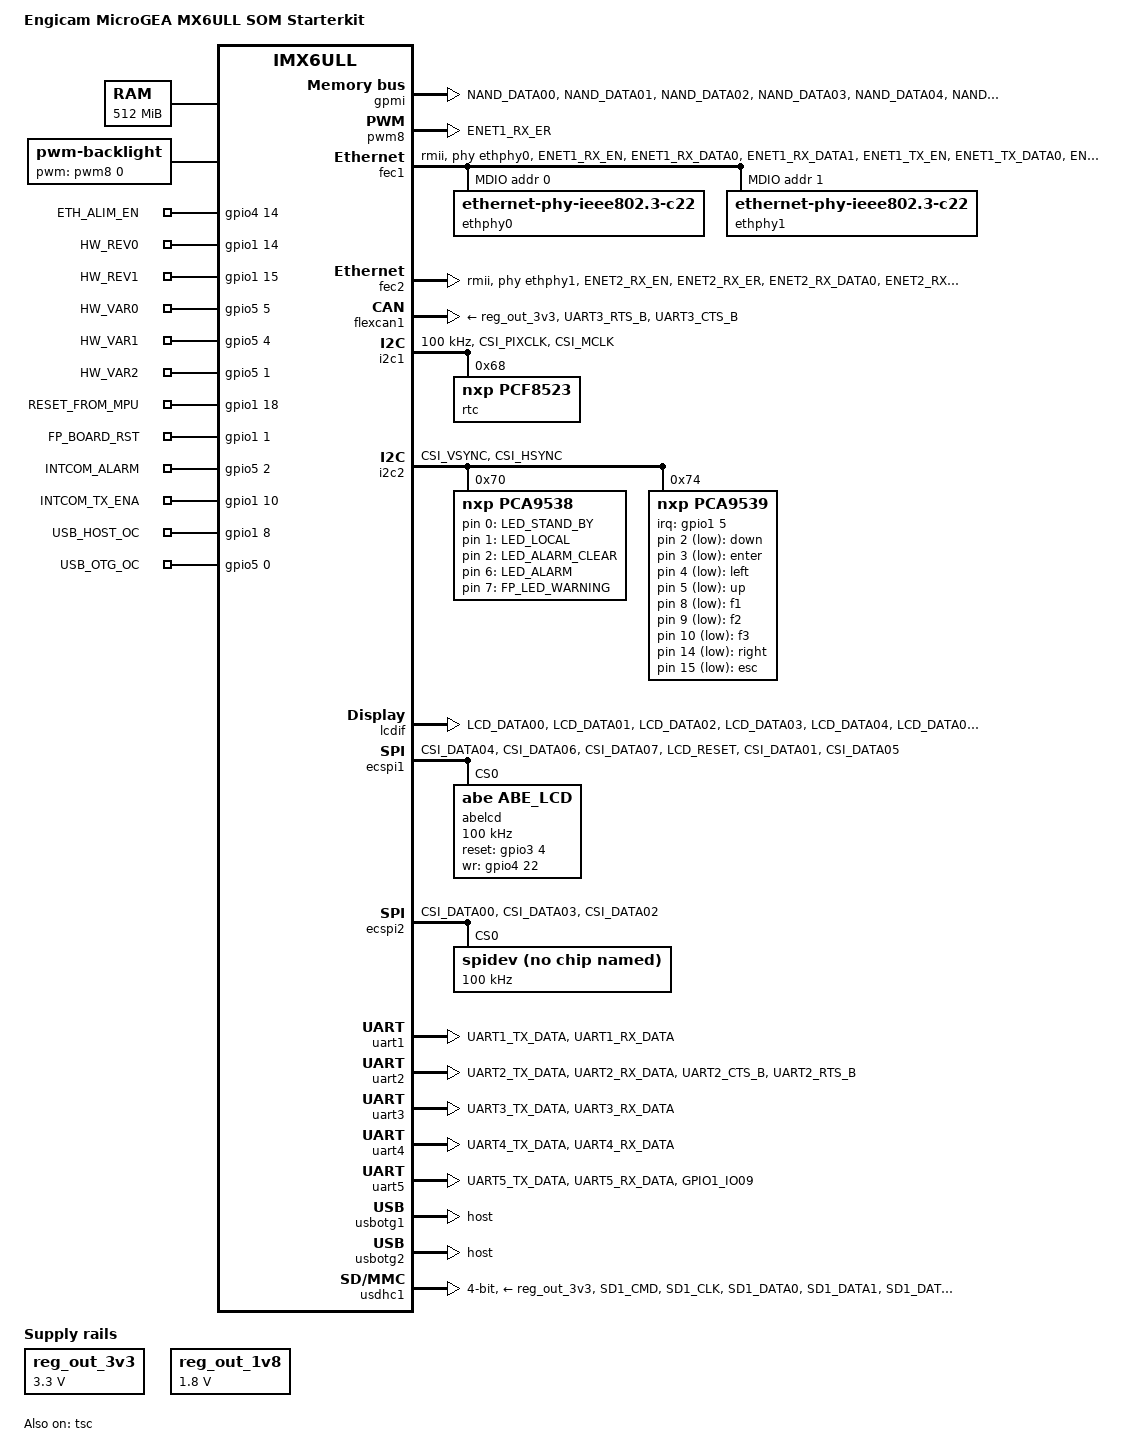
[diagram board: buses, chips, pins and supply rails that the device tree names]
/*
 * Copyright (C) 2016 Freescale Semiconductor, Inc.
 * Copyright 2017 NXP
 *
 * This program is free software; you can redistribute it and/or modify
 * it under the terms of the GNU General Public License version 2 as
 * published by the Free Software Foundation.
 */

/dts-v1/;

#include <dt-bindings/input/input.h>
#include "imx6ull.dtsi"

/ {
	model = "Engicam MicroGEA MX6ULL SOM Starterkit";
	compatible = "fsl,imx6ull";

	chosen {
		stdout-path = &uart1;
	};

	memory {
		reg = <0x80000000 0x20000000>;
	};

	reserved-memory {
		#address-cells = <1>;
		#size-cells = <1>;
		ranges;

		linux,cma {
			compatible = "shared-dma-pool";
			reusable;
			size = <0x4000000>;
			linux,cma-default;
		};
	};

    backlight {
        compatible = "pwm-backlight";
        pwms = <&pwm8 0 100000>;
        brightness-levels = < 0  1  2  3  4  5  6  7  8  9
                    10 11 12 13 14 15 16 17 18 19
                    20 21 22 23 24 25 26 27 28 29
                    30 31 32 33 34 35 36 37 38 39
                    40 41 42 43 44 45 46 47 48 49
                    50 51 52 53 54 55 56 57 58 59
                    60 61 62 63 64 65 66 67 68 69
                    70 71 72 73 74 75 76 77 78 79
                    80 81 82 83 84 85 86 87 88 89
                    90 91 92 93 94 95 96 97 98 99
                    100>;
        default-brightness-level = <100>;
        status = "okay";
    };


	regulators {
		compatible = "simple-bus";
		#address-cells = <1>;
		#size-cells = <0>;

		reg_out_3v3: regulator@0 {
			compatible = "regulator-fixed";
			reg = <0>;
			regulator-name = "out-3v3";
			regulator-min-microvolt = <3300000>;
			regulator-max-microvolt = <3300000>;
		};

		reg_out_1v8: regulator@1 {
			compatible = "regulator-fixed";
			reg = <1>;
			regulator-name = "out-1v8";
			regulator-min-microvolt = <1800000>;
			regulator-max-microvolt = <1800000>;
		};
	};


	gpio_export {
		compatible = "gpio-export";
		#size-cells = <0>;

		ETH_ALIM_EN {
			gpio-export,name = "ETH_ALIM_EN";
			gpio-export,output = <1>;
			gpios = <&gpio4 14 0>;
		};

		HW_REV0 {
			gpio-export,name = "HW_REV0";
			gpios = <&gpio1 14 0>;
		};

		HW_REV1 {
			gpio-export,name = "HW_REV1";
			gpios = <&gpio1 15 0>;
		};

		HW_VAR0 {
			gpio-export,name = "HW_VAR0";
			gpios = <&gpio5 5 0>;
		};

		HW_VAR1 {
			gpio-export,name = "HW_VAR1";
			gpios = <&gpio5 4 0>;
		};

		HW_VAR2 {
			gpio-export,name = "HW_VAR2";
			gpios = <&gpio5 1 0>;
		};

		RESET_FROM_MPU {
			gpio-export,name = "RESET_FROM_MPU";
			gpio-export,output = <1>;
			gpios = <&gpio1 18 0>;
		};

		FP_BOARD_RST {
			gpio-export,name = "FP_BOARD_RST";
			gpio-export,output = <1>;
			gpios = <&gpio1 1 0>;
		};

		LED_STAND_BY {
			gpio-export,name = "LED_STAND_BY";
			gpio-export,output = <1>;
			gpios = <&pca9538 0 0>;
		};

		LED_LOCAL {
			gpio-export,name = "LED_LOCAL";
			gpio-export,output = <1>;
			gpios = <&pca9538 1 0>;
		};

		LED_ALARM_CLEAR {
			gpio-export,name = "LED_ALARM_CLEAR";
			gpio-export,output = <1>;
			gpios = <&pca9538 2 0>;
		};

		LED_ALARM {
			gpio-export,name = "LED_ALARM";
			gpio-export,output = <1>;
			gpios = <&pca9538 6 0>;
		};

		FP_LED_WARNING {
			gpio-export,name = "FP_LED_WARNING";
			gpio-export,output = <1>;
			gpios = <&pca9538 7 0>;
		};

		INTCOM_ALARM {
			gpio-export,name = "INTCOM_ALARM";
			gpios = <&gpio5 2 0>;
		};

		INTCOM_TX_ENA {
			gpio-export,name = "INTCOM_TX_ENA";
			gpio-export,output = <1>;
			gpios = <&gpio1 10 0>;
		};

		USB_HOST_OC {
			gpio-export,name = "USB_HOST_OC";
			gpios = <&gpio1 8 0>;
		};

		USB_OTG_OC {
			gpio-export,name = "USB_OTG_OC";
			gpios = <&gpio5 0 0>;
		};
	};

	frontal-keys {
		compatible = "gpio-keys";
		autorepeat;
		#address-cells = <1>;
		#size-cells = <0>;

		down@2 {
			label = "down";
			linux,code = <KEY_DOWN>;
			gpios = <&pca9539 2 1>;
		};

		enter@3 {
			label = "enter";
			linux,code = <KEY_KPENTER>;
			gpios = <&pca9539 3 1>;
		};

		left@4 {
			label = "left";
			linux,code = <KEY_LEFT>;
			gpios = <&pca9539 4 1>;
		};

		up@5 {
			label = "up";
			linux,code = <KEY_UP>;
			gpios = <&pca9539 5 1>;
		};

		f1@8 {
			label = "f1";
			linux,code = <KEY_F1>;
			gpios = <&pca9539 8 1>;
		};

		f2@9 {
			label = "f2";
			linux,code = <KEY_F2>;
			gpios = <&pca9539 9 1>;
		};

		f3@10 {
			label = "f3";
			linux,code = <KEY_F3>;
			gpios = <&pca9539 10 1>;
		};

		right@14 {
			label = "right";
			linux,code = <KEY_RIGHT>;
			gpios = <&pca9539 14 1>;
		};

		esc@15 {
			label = "esc";
			linux,code = <KEY_ESC>;
			gpios = <&pca9539 15 1>;
		};
	};
};

&gpmi {
	pinctrl-names = "default";
	pinctrl-0 = <&pinctrl_gpmi_nand_1>;
	status = "okay";
	nand-on-flash-bbt;
	nand-bus-width = <8>;
	nand-ecc-mode = "hw";
	nand-ecc-strength = <8>;
	nand-ecc-step-size = <512>;

	partition@0 {
		label = "bootloader";
		reg = <0x000000 0x00400000>; /* 256 KiB */
	};

	partition@1 {
		label = "os1";
		reg = <0x00400000 0x0f000000>; /* 240 Mb */
	};

	partition@2 {
		label = "os2";
		reg = <0x0f400000 0x0f000000>; /* 240 Mb */
	};
	
	partition@3 {
		label = "data";
		reg = <0x1e400000 0x01c00000>; /* - */
	};	
};

&pwm8 {
	pinctrl-names = "default";
	pinctrl-0 = <&pinctrl_pwm8>;
	status = "okay";
};


&cpu0 {
	/*
	 * on i.MX6ULL, no separated VDD_ARM_IN and VDD_SOC_IN,
	 * to align with other platform and use the same cpufreq
	 * driver, still use the separated OPP define for arm
	 * and soc.
	 */
	operating-points = <
		/* kHz	uV */
		792000  1225000
		396000	1175000
		198000	1175000
	>;
	fsl,soc-operating-points = <
		/* KHz	uV */
		792000  1225000
		396000	1175000
		198000	1175000
	>;
	fsl,arm-soc-shared = <1>;
};

&fec1 {
	pinctrl-names = "default";
	pinctrl-0 = <&pinctrl_enet1>;
	phy-mode = "rmii";
	phy-handle = <&ethphy0>;
	status = "okay";

	mdio {
		#address-cells = <1>;
		#size-cells = <0>;

		ethphy0: ethernet-phy@0 {
			compatible = "ethernet-phy-ieee802.3-c22";
			reg = <0>;
		};

        ethphy1: ethernet-phy@1 {
            compatible = "ethernet-phy-ieee802.3-c22";
          	reg = <1>;
        };
	};
};

&fec2 {
    pinctrl-names = "default";
    pinctrl-0 = <&pinctrl_enet2>;
    phy-mode = "rmii";
    phy-handle = <&ethphy1>;
    status = "okay";
};


&flexcan1 {
	pinctrl-names = "default";
	pinctrl-0 = <&pinctrl_flexcan1>;
	xceiver-supply = <&reg_out_3v3>;
	status = "okay";
};


&gpc {
	fsl,cpu_pupscr_sw2iso = <0xf>;
	fsl,cpu_pupscr_sw = <0x0>;
	fsl,cpu_pdnscr_iso2sw = <0x1>;
	fsl,cpu_pdnscr_iso = <0x1>;
	fsl,ldo-bypass = <1>;
};



&i2c1 {
	clock-frequency = <100000>;
	pinctrl-names = "default";
	pinctrl-0 = <&pinctrl_i2c1>;
	status = "okay";

	rtc: pcf8523@68 {
		compatible = "nxp,pcf8523";
		reg = <0x68>;
	};
};


&i2c2 {
	clock_frequency = <100000>;
	pinctrl-names = "default";
	pinctrl-0 = <&pinctrl_i2c2>;
	status = "okay";

	pca9538: pca9538@70 {
		compatible = "nxp,pca9538";
		reg = <0x70>;
		gpio-controller;
		#gpio-cells = <2>;
	};

	pca9539: pca9539@74 {
		#gpio-cells = <2>;
		compatible = "nxp,pca9539";
		reg = <0x74>;
		pinctrl-names = "default";
		pinctrl-0 = <&pinctrl_pca9539>;
		interrupt-parent = <&gpio1>;
		interrupts = <5 IRQ_TYPE_LEVEL_LOW>;
		gpio-controller;
		interrupt-controller;
		#interrupt-cells = <2>;
	};
};

&iomuxc {
	pinctrl-names = "default";
	pinctrl-0 = <&pinctrl_hog_1>;
	imx6ul-evk {

		pinctrl_hog_1: hoggrp-1 {
			fsl,pins = <
				MX6UL_PAD_UART1_RTS_B__GPIO1_IO19  	0x17059 /*CD sdhc1 */
				MX6UL_PAD_SNVS_TAMPER5__GPIO5_IO05 	0x1b0b0 /* HW_VAR0 38 */
				MX6UL_PAD_SNVS_TAMPER4__GPIO5_IO04	0x1b0b0 /* HW_VAR1 40 */
				MX6UL_PAD_SNVS_TAMPER1__GPIO5_IO01	0x1b0b0 /* HW_VAR2 42 */
				MX6UL_PAD_JTAG_TCK__GPIO1_IO14		0x1b0b0 /* HW_REV0 53 */
				MX6UL_PAD_JTAG_TRST_B__GPIO1_IO15	0x1b0b0 /* HW_REV1 55 */
				MX6UL_PAD_UART1_CTS_B__GPIO1_IO18	0x1b0b0 /* RESET_FROM_MPU 75 */
				MX6UL_PAD_JTAG_TMS__GPIO1_IO11		0x1b0b0 /* FP_BOARD_RST */

				MX6UL_PAD_SNVS_TAMPER2__GPIO5_IO02	0x1b0b0 /* INTCOM_ALARM  */
				MX6UL_PAD_JTAG_MOD__GPIO1_IO10		0x1b0b0 /* INTCOM_TX_ENA */

				MX6UL_PAD_GPIO1_IO08__GPIO1_IO08	0x1b0b0 /* USB_HOST_OC */
				MX6UL_PAD_SNVS_TAMPER0__GPIO5_IO00	0x1b0b0 /* USB_OTG_OC */
			>;
		};

		pinctrl_pca9539: pinpca9539{
				fsl,pins = <
					MX6UL_PAD_GPIO1_IO05__GPIO1_IO05		0x1b0b0
				>;
		};

		pinctrl_enet1: enet1grp {
			fsl,pins = <
				MX6UL_PAD_ENET1_RX_EN__ENET1_RX_EN		0x1b0b0
				MX6UL_PAD_ENET1_RX_DATA0__ENET1_RDATA00	0x1b0b0
				MX6UL_PAD_ENET1_RX_DATA1__ENET1_RDATA01	0x1b0b0
				MX6UL_PAD_ENET1_TX_EN__ENET1_TX_EN		0x1b0b0
				MX6UL_PAD_ENET1_TX_DATA0__ENET1_TDATA00	0x1b0b0
				MX6UL_PAD_ENET1_TX_DATA1__ENET1_TDATA01	0x1b0b0
				MX6UL_PAD_ENET1_TX_CLK__ENET1_REF_CLK1	0x4001b031
				MX6UL_PAD_GPIO1_IO07__ENET1_MDC			0x1b0b0
				MX6UL_PAD_GPIO1_IO06__ENET1_MDIO		0x1b0b0
			>;
		};

		pinctrl_enet2: enet2grp {
			fsl,pins = <
				MX6UL_PAD_ENET2_RX_EN__ENET2_RX_EN		0x1b0b0
				MX6UL_PAD_ENET2_RX_ER__ENET2_RX_ER		0x1b0b0
				MX6UL_PAD_ENET2_RX_DATA0__ENET2_RDATA00	0x1b0b0
				MX6UL_PAD_ENET2_RX_DATA1__ENET2_RDATA01	0x1b0b0
				MX6UL_PAD_ENET2_TX_EN__ENET2_TX_EN		0x1b0b0
				MX6UL_PAD_ENET2_TX_DATA0__ENET2_TDATA00	0x1b0b0
				MX6UL_PAD_ENET2_TX_DATA1__ENET2_TDATA01	0x1b0b0
				MX6UL_PAD_ENET2_TX_CLK__ENET2_REF_CLK2	0x4001b031
			>;
		};

		pinctrl_pwm8: pwm8grp {
			fsl,pins = <
				MX6UL_PAD_ENET1_RX_ER__PWM8_OUT   0x110b0
			>;
		};

		pinctrl_flexcan1: flexcan1grp{
			fsl,pins = <
				MX6UL_PAD_UART3_RTS_B__FLEXCAN1_RX	0x1b020
				MX6UL_PAD_UART3_CTS_B__FLEXCAN1_TX	0x1b020
			>;
		};

		pinctrl_gpmi_nand_1: gpmi-nand-1 {
			fsl,pins = <
				MX6UL_PAD_NAND_DATA00__RAWNAND_DATA00   0x100a9
				MX6UL_PAD_NAND_DATA01__RAWNAND_DATA01   0x100a9
				MX6UL_PAD_NAND_DATA02__RAWNAND_DATA02   0x100a9
				MX6UL_PAD_NAND_DATA03__RAWNAND_DATA03   0x100a9
				MX6UL_PAD_NAND_DATA04__RAWNAND_DATA04   0x100a9
				MX6UL_PAD_NAND_DATA05__RAWNAND_DATA05   0x100a9
				MX6UL_PAD_NAND_DATA06__RAWNAND_DATA06   0x100a9
				MX6UL_PAD_NAND_DATA07__RAWNAND_DATA07   0x100a9
				MX6UL_PAD_NAND_CLE__RAWNAND_CLE         0x100a9
				MX6UL_PAD_NAND_ALE__RAWNAND_ALE         0x100a9
				MX6UL_PAD_NAND_RE_B__RAWNAND_RE_B       0x100a9
				MX6UL_PAD_NAND_WE_B__RAWNAND_WE_B       0x100a9
				MX6UL_PAD_NAND_CE0_B__RAWNAND_CE0_B     0x100a9
				MX6UL_PAD_NAND_READY_B__RAWNAND_READY_B 0x100a9

			>;
		};

		pinctrl_uart1: uart1grp {
			fsl,pins = <
				MX6UL_PAD_UART1_TX_DATA__UART1_DCE_TX 0x1b0b1
				MX6UL_PAD_UART1_RX_DATA__UART1_DCE_RX 0x1b0b1
			>;
		};

		pinctrl_uart2: uart2grp {
			fsl,pins = <
				MX6UL_PAD_UART2_TX_DATA__UART2_DCE_TX	0x1b0b1
				MX6UL_PAD_UART2_RX_DATA__UART2_DCE_RX	0x1b0b1
				MX6UL_PAD_UART2_CTS_B__UART2_DCE_CTS	0x1b0b1
				MX6UL_PAD_UART2_RTS_B__UART2_DCE_RTS	0x1b0b1
			>;
		};
		
		pinctrl_uart3: uart3grp {
			fsl,pins = <
				MX6UL_PAD_UART3_TX_DATA__UART3_DCE_TX 0x1b0b1
				MX6UL_PAD_UART3_RX_DATA__UART3_DCE_RX 0x1b0b1
			>;
		};

		pinctrl_uart4: uart4grp {
			fsl,pins = <
				MX6UL_PAD_UART4_TX_DATA__UART4_DCE_TX 0x1b0b1
				MX6UL_PAD_UART4_RX_DATA__UART4_DCE_RX 0x1b0b1
			>;
		};

		pinctrl_uart5: uart5grp {
			fsl,pins = <
				MX6UL_PAD_UART5_TX_DATA__UART5_DCE_TX 	0x1b0b1
				MX6ULL_PAD_UART5_RX_DATA__UART5_DCE_RX	0x1b0b1
				MX6UL_PAD_GPIO1_IO09__UART5_DCE_CTS		0x1b0b1
			>;
		};

		pinctrl_usdhc1: usdhc1grp {
			fsl,pins = <
				MX6UL_PAD_SD1_CMD__USDHC1_CMD     0x17059
				MX6UL_PAD_SD1_CLK__USDHC1_CLK     0x10059
				MX6UL_PAD_SD1_DATA0__USDHC1_DATA0 0x17059
				MX6UL_PAD_SD1_DATA1__USDHC1_DATA1 0x17059
				MX6UL_PAD_SD1_DATA2__USDHC1_DATA2 0x17059
				MX6UL_PAD_SD1_DATA3__USDHC1_DATA3 0x17059
			>;
		};

		pinctrl_usdhc1_100mhz: usdhc1grp100mhz {
			fsl,pins = <
				MX6UL_PAD_SD1_CMD__USDHC1_CMD     0x170b9
				MX6UL_PAD_SD1_CLK__USDHC1_CLK     0x100b9
				MX6UL_PAD_SD1_DATA0__USDHC1_DATA0 0x170b9
				MX6UL_PAD_SD1_DATA1__USDHC1_DATA1 0x170b9
				MX6UL_PAD_SD1_DATA2__USDHC1_DATA2 0x170b9
				MX6UL_PAD_SD1_DATA3__USDHC1_DATA3 0x170b9
			>;
		};

		pinctrl_usdhc1_200mhz: usdhc1grp200mhz {
			fsl,pins = <
				MX6UL_PAD_SD1_CMD__USDHC1_CMD     0x170f9
				MX6UL_PAD_SD1_CLK__USDHC1_CLK     0x100f9
				MX6UL_PAD_SD1_DATA0__USDHC1_DATA0 0x170f9
				MX6UL_PAD_SD1_DATA1__USDHC1_DATA1 0x170f9
				MX6UL_PAD_SD1_DATA2__USDHC1_DATA2 0x170f9
				MX6UL_PAD_SD1_DATA3__USDHC1_DATA3 0x170f9
			>;
		};


		pinctrl_i2c1: i2c1grp {
			fsl,pins = <
				MX6UL_PAD_CSI_PIXCLK__I2C1_SCL 0x4001b8b0
				MX6UL_PAD_CSI_MCLK__I2C1_SDA 0x4001b8b0
			>;
		};

		pinctrl_i2c2: i2c2grp {
			fsl,pins = <
				MX6UL_PAD_CSI_VSYNC__I2C2_SDA 0x4001b8b0
				MX6UL_PAD_CSI_HSYNC__I2C2_SCL 0x4001b8b0
			>;
		};

		pinctrl_ecspi1: ecspigrp {
			fsl,pins = <
				MX6UL_PAD_CSI_DATA04__ECSPI1_SCLK      	0x70a1
				//MX6UL_PAD_CSI_DATA05__ECSPI1_SS0 		0x70a1
				MX6UL_PAD_CSI_DATA06__ECSPI1_MOSI   	0x70a1
				MX6UL_PAD_CSI_DATA07__ECSPI1_MISO   	0x70a1
				MX6UL_PAD_LCD_RESET__GPIO3_IO04			0x1b0b0
				MX6UL_PAD_CSI_DATA01__GPIO4_IO22		0x1b0b0
				MX6UL_PAD_CSI_DATA05__GPIO4_IO26		0x1b0b0
			>;
		};

        pinctrl_tsc: tscgrp {
                fsl,pins = <
                    MX6UL_PAD_GPIO1_IO01__GPIO1_IO01        0xb0
                    MX6UL_PAD_GPIO1_IO02__GPIO1_IO02        0xb0
                    MX6UL_PAD_GPIO1_IO03__GPIO1_IO03        0xb0
                    MX6UL_PAD_GPIO1_IO04__GPIO1_IO04        0xb0
                >;
        };

		pinctrl_ecspi2: ecspigrp2 {
			fsl,pins = <
				MX6UL_PAD_CSI_DATA00__ECSPI2_SCLK      	0x70a1
				MX6UL_PAD_CSI_DATA03__ECSPI2_MISO   	0x70a1
				MX6UL_PAD_CSI_DATA02__ECSPI2_MOSI   	0x70a1
			>;
		};

		pinctrl_lcdif_dat: lcdifdatgrp {
			fsl,pins = <
				MX6UL_PAD_LCD_DATA00__LCDIF_DATA00  0x79
				MX6UL_PAD_LCD_DATA01__LCDIF_DATA01  0x79
				MX6UL_PAD_LCD_DATA02__LCDIF_DATA02  0x79
				MX6UL_PAD_LCD_DATA03__LCDIF_DATA03  0x79
				MX6UL_PAD_LCD_DATA04__LCDIF_DATA04  0x79
				MX6UL_PAD_LCD_DATA05__LCDIF_DATA05  0x79
				MX6UL_PAD_LCD_DATA06__LCDIF_DATA06  0x79
				MX6UL_PAD_LCD_DATA07__LCDIF_DATA07  0x79
				MX6UL_PAD_LCD_DATA08__LCDIF_DATA08  0x79
				MX6UL_PAD_LCD_DATA09__LCDIF_DATA09  0x79
				MX6UL_PAD_LCD_DATA10__LCDIF_DATA10  0x79
				MX6UL_PAD_LCD_DATA11__LCDIF_DATA11  0x79
				MX6UL_PAD_LCD_DATA12__LCDIF_DATA12  0x79
				MX6UL_PAD_LCD_DATA13__LCDIF_DATA13  0x79
				MX6UL_PAD_LCD_DATA14__LCDIF_DATA14  0x79
				MX6UL_PAD_LCD_DATA15__LCDIF_DATA15  0x79
				MX6UL_PAD_LCD_DATA16__LCDIF_DATA16  0x79
				MX6UL_PAD_LCD_DATA17__LCDIF_DATA17  0x79
			>;
		};

		pinctrl_lcdif_ctrl: lcdifctrlgrp {
			fsl,pins = <
				MX6UL_PAD_LCD_CLK__LCDIF_CLK	    0x79
				MX6UL_PAD_LCD_ENABLE__LCDIF_ENABLE  0x79
				MX6UL_PAD_LCD_HSYNC__LCDIF_HSYNC    0x79
				MX6UL_PAD_LCD_VSYNC__LCDIF_VSYNC    0x79
			>;
		};

		pinctrl_usb_otg1_id: usbotg1idgrp {
			fsl,pins = <
				MX6UL_PAD_GPIO1_IO00__ANATOP_OTG1_ID 0x17059
			>;
		};
	};
};

&lcdif {
	pinctrl-names = "default";
	pinctrl-0 = <&pinctrl_lcdif_dat
		     	 &pinctrl_lcdif_ctrl>;

	display = <&display0>;
	status = "okay";

	display0: display {
		bits-per-pixel = <32>;
		bus-width = <18>;
		display-timings {
				native-mode = <&timing1>;
				timing1: hsd100pxn1 {
					clock-frequency = <6000000>;
					hactive = <320>;
					vactive = <240>;
					hback-porch = <20>;
					hfront-porch = <10>;
					vback-porch = <2>;
					vfront-porch = <4>;
					hsync-len = <10>;
					vsync-len = <2>;
					hsync-active = <0>;
					vsync-active = <0>;
					de-active = <1>;
					pixelclk-active = <1>;
			};
		};
	};
};

&tsc {
		pinctrl-names = "default";
		pinctrl-0 = <&pinctrl_tsc>;
		xnur-gpio = <&gpio1 3 GPIO_ACTIVE_LOW>;
		measure_delay_time = <0xffff>;
		pre_charge_time = <0xfff>;
		status = "okay";
};


&ecspi1 {
        pinctrl-names = "default";
        pinctrl-0 = <&pinctrl_ecspi1>;
        status = "okay";

		abelcd@0 {
				compatible = "abe,abe_lcd";
				reg = <0>;
    		    reset-gpios = <&gpio3 4 GPIO_ACTIVE_HIGH>;
    		    wr-gpios = <&gpio4 22 GPIO_ACTIVE_HIGH>;
    		    cs-gpios = <&gpio4 26 GPIO_ACTIVE_HIGH>;
				spi-max-frequency = <100000>;
		};

};
&ecspi2 {
        pinctrl-names = "default";
        pinctrl-0 = <&pinctrl_ecspi2>;
        status = "okay";


		spidev@0 {
				compatible = "rohm,dh2228fv";
				reg = <0>;
				spi-max-frequency = <100000>;
		};
};


&uart1 {
	pinctrl-names = "default";
	pinctrl-0 = <&pinctrl_uart1>;
	status = "okay";
};

&uart2 {
	pinctrl-names = "default";
	pinctrl-0 = <&pinctrl_uart2>;
	fsl,uart-has-rtscts;
	status = "okay";
};

&uart3 {
	pinctrl-names = "default";
	pinctrl-0 = <&pinctrl_uart3>;
	status = "okay";
};

&uart4 {
	pinctrl-names = "default";
	pinctrl-0 = <&pinctrl_uart4>;
	status = "okay";
};

&uart5 {
	pinctrl-names = "default";
	pinctrl-0 = <&pinctrl_uart5>;
	fsl,uart-has-rtscts;
	status = "okay";
};


&usbotg1 {
	dr_mode = "host";
	status = "okay";
};

&usbotg2 {
	dr_mode = "host";
	status = "okay";
};

&usdhc1 {
	pinctrl-names = "default";
	pinctrl-0 = <&pinctrl_usdhc1>;
	max-frequency = <25000000>;
	bus-width = <4>;
	cd-gpios = <&gpio1 19 GPIO_ACTIVE_LOW>;
	vmmc-supply = <&reg_out_3v3>;
	enable-sdio-wakeup;
	keep-power-in-suspend;
	status = "okay";
};

&wdog1 {
	fsl,wdog_b;
};


